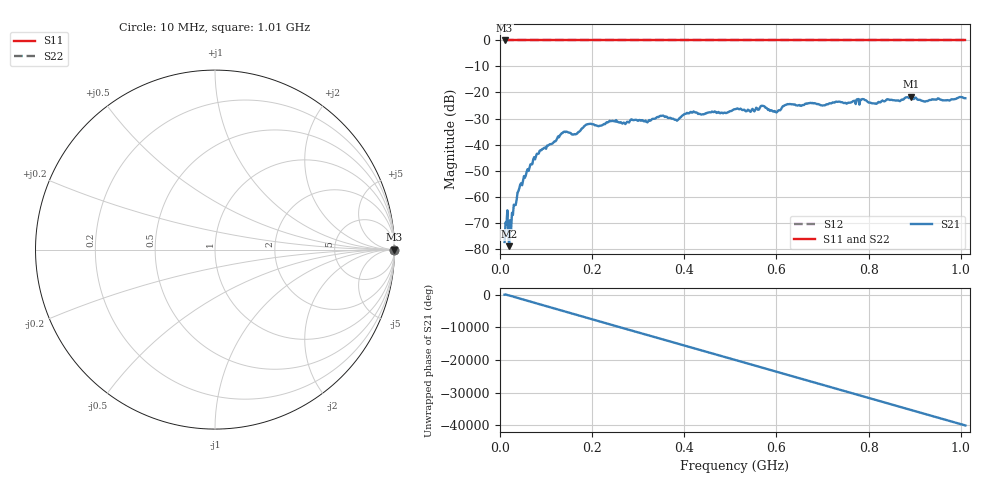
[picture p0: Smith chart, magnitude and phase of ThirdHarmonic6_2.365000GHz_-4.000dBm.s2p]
! 8/17/2025 3:39:30 AM
! C:\ANRITSUVNA\TEMP\TEMP.S2P
! CHANNEL.1
! TR.MEASUREMENT
! RAW.DATA
! RF.CORRECTION.OFF
! AVERAGING.OFF
! IF.BANDWIDTH: 5KHZ
! SWEEPTYPE:  FREQ.SWEEP(Linear)
! Reference Plane Port Info
! PORT:  PORT1  PORT2
! DISTANCE:  0  m  0  m
! TIME:  0  s  0  s
! PHASE.OFFSET:  0  deg.  0  deg.
! LOSS:  0  dB  0  dB
! REF.LOSS:  0  dB  0  dB
! REF.FREQ:  0  Hz  0  Hz
! Power Info
! POWER:  -20  dBm  -20  dBm
! EFF.POWER:  -20  dBm  -20  dBm
! SOURCE.ATTEN:  0  dB  0  dB
! TEST.ATTEN:  0  dB  0  dB
# GHZ S RI R 50.0
! FREQ.GHZ  S11RE  S11IM  S21RE  S21IM  S12RE  S12IM  S22RE  S22IM
!; PortSelection: Port_12
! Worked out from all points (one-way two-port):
!   501 points, 10 MHz to 1.01 GHz, reference 50 ohm
!   highest |S21| = -21.63 dB at 892 MHz (marker M1); lowest = -79.1 dB at 20 MHz (marker M2)
!   lowest |S11| = 0.0 dB at 10 MHz (marker M3)
!   |S11| at or under -10 dB: nowhere
!   |S22| runs from 0.0 to 0.0 dB; largest |S21 - S12| = 1.1
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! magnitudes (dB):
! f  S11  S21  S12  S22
! 10 MHz  0.0  -77.5  0.0  0.0
! 14 MHz  0.0  -70.8  0.0  0.0
! 20 MHz  0.0  -79.1  0.0  0.0
! 22 MHz  0.0  -69.1  0.0  0.0
! 26 MHz  0.0  -66.2  0.0  0.0
! 42 MHz  0.0  -56.7  0.0  0.0
! 76 MHz  0.0  -45.7  0.0  0.0
! 136 MHz  0.0  -35.5  0.0  0.0
! 162 MHz  0.0  -36.0  0.0  0.0
! 178 MHz  0.0  -33.8  0.0  0.0
! 344 MHz  0.0  -29.5  0.0  0.0
! 384 MHz  0.0  -30.8  0.0  0.0
! 416 MHz  0.0  -27.7  0.0  0.0
! 510 MHz  0.0  -26.4  0.0  0.0
! 570 MHz  0.0  -25.1  0.0  0.0
! 598 MHz  0.0  -27.4  0.0  0.0
! 624 MHz  0.0  -24.4  0.0  0.0
! 678 MHz  0.0  -24.0  0.0  0.0
! 844 MHz  0.0  -22.7  0.0  0.0
! 892 MHz  0.0  -21.6  0.0  0.0
! 922 MHz  0.0  -23.5  0.0  0.0
! 1.01 GHz  0.0  -22.2  0.0  0.0
